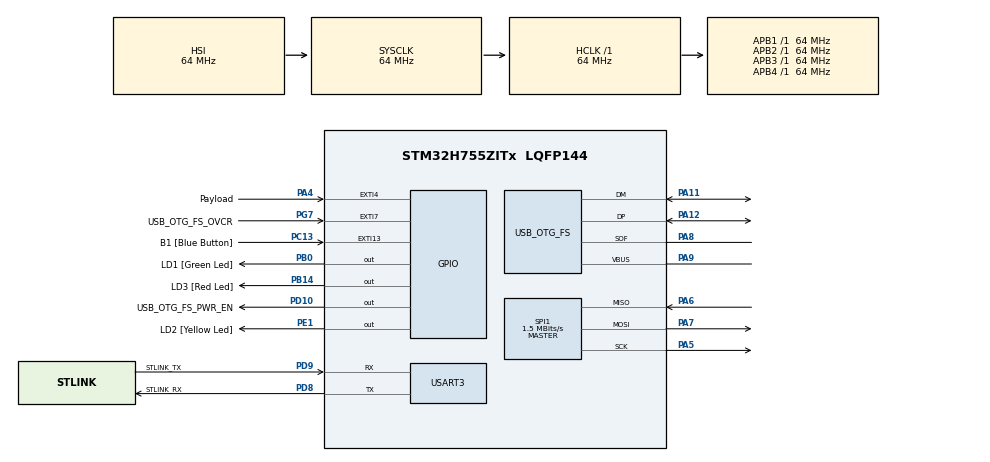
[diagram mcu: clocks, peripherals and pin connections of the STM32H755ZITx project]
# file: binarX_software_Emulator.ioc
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CortexM4.IPs=FATFS_M4\:I,FREERTOS_M4\:I,IWDG2\:I,RCC,WWDG2\:I,DMA,BDMA,MDMA,NVIC2\:I,USART3,DEBUG,USB_DEVICE_M4\:I,USB_HOST_M4\:I,PDM2PCM_M4\:I,PWR,RESMGR_UTILITY,SYS_M4\:I,CORTEX_M4\:I,OPENAMP_M4\:I,VREFBUF,GPIO
CortexM7.IPs=FATFS_M7\:I,FREERTOS_M7\:I,IWDG1\:I,RCC\:I,WWDG1\:I,DMA\:I,BDMA\:I,MDMA\:I,NVIC1\:I,USART3\:I,USB_OTG_FS\:I,SYS\:I,CORTEX_M7\:I,DEBUG\:I,USB_DEVICE_M7\:I,USB_HOST_M7\:I,PDM2PCM_M7\:I,PWR\:I,RESMGR_UTILITY\:I,OPENAMP_M7\:I,VREFBUF\:I,GPIO\:I,SPI1\:I
CortexM7.Pins=PC13,PA4,PB0,PB14,PE1
Mcu.Family=STM32H7
Mcu.Name=STM32H755ZITx
Mcu.Package=LQFP144
NVIC1.EXTI15_10_IRQn=true\:5\:0\:true\:false\:true\:true\:true\:true
NVIC1.EXTI4_IRQn=true\:5\:0\:true\:false\:true\:true\:true\:true
NVIC1.PriorityGroup=NVIC_PRIORITYGROUP_4
NVIC2.PriorityGroup=NVIC_PRIORITYGROUP_4
PA1.PinAttribute=CortexM4
PA1.Signal=ETH_REF_CLK
PA11.Mode=Device_Only
PA11.PinAttribute=CortexM7
PA11.Signal=USB_OTG_FS_DM
PA12.Mode=Device_Only
PA12.PinAttribute=CortexM7
PA12.Signal=USB_OTG_FS_DP
PA2.PinAttribute=CortexM4
PA2.Signal=ETH_MDIO
PA4.GPIO_Label=Payload
PA4.PinAttribute=CortexM7
PA4.Signal=GPXTI4
PA5.Mode=Full_Duplex_Master
PA5.PinAttribute=CortexM7
PA5.Signal=SPI1_SCK
PA6.Mode=Full_Duplex_Master
PA6.PinAttribute=CortexM7
PA6.Signal=SPI1_MISO
PA7.Mode=Full_Duplex_Master
PA7.PinAttribute=CortexM7
PA7.Signal=SPI1_MOSI
PA8.Mode=Activate_SOF_FS
PA8.PinAttribute=CortexM7
PA8.Signal=USB_OTG_FS_SOF
PA9.Mode=Activate_VBUS
PA9.PinAttribute=CortexM7
PA9.Signal=USB_OTG_FS_VBUS
PB0.GPIO_Label=LD1 [Green Led]
PB0.PinAttribute=CortexM7
PB0.Signal=GPIO_Output
PB13.PinAttribute=CortexM4
PB13.Signal=ETH_TXD1
PB14.GPIO_Label=LD3 [Red Led]
PB14.PinAttribute=CortexM7
PB14.Signal=GPIO_Output
PC1.PinAttribute=CortexM4
PC1.Signal=ETH_MDC
PC13.GPIO_Label=B1 [Blue Button]
PC13.PinAttribute=CortexM7
PC13.Signal=GPXTI13
PC14-OSC32_IN\ (OSC32_IN).Mode=LSE-External-Oscillator
PC14-OSC32_IN\ (OSC32_IN).PinAttribute=CortexM7
PC14-OSC32_IN\ (OSC32_IN).Signal=RCC_OSC32_IN
PC15-OSC32_OUT\ (OSC32_OUT).Mode=LSE-External-Oscillator
PC15-OSC32_OUT\ (OSC32_OUT).PinAttribute=CortexM7
PC15-OSC32_OUT\ (OSC32_OUT).Signal=RCC_OSC32_OUT
PD10.GPIO_Label=USB_OTG_FS_PWR_EN
PD10.PinAttribute=Free
PD10.Signal=GPIO_Output
PD8.GPIO_Label=STLINK_RX
PD8.Mode=Asynchronous
PD8.PinAttribute=CortexM7
PD8.Signal=USART3_TX
PD9.GPIO_Label=STLINK_TX
PD9.Mode=Asynchronous
PD9.PinAttribute=CortexM7
PD9.Signal=USART3_RX
PE1.GPIO_Label=LD2 [Yellow Led]
PE1.PinAttribute=CortexM7
PE1.Signal=GPIO_Output
PG11.PinAttribute=CortexM4
PG11.Signal=ETH_TX_EN
PG13.PinAttribute=CortexM4
PG13.Signal=ETH_TXD0
PG7.GPIO_Label=USB_OTG_FS_OVCR
PG7.PinAttribute=Free
PG7.Signal=GPXTI7
PH0-OSC_IN\ (PH0).Mode=HSE-External-Clock-Source
PH0-OSC_IN\ (PH0).PinAttribute=CortexM7
PH0-OSC_IN\ (PH0).Signal=RCC_OSC_IN
PH1-OSC_OUT\ (PH1).PinAttribute=CortexM7
PH1-OSC_OUT\ (PH1).Signal=RCC_OSC_OUT
ProjectManager.HeapSize=M4-0x200,M7-0x200
ProjectManager.StackSize=M4-0x400,M7-0x400
ProjectManager.TargetToolchain=STM32CubeIDE
RCC.ADCFreq_Value=16125000
RCC.APB1Freq_Value=64000000
RCC.APB2Freq_Value=64000000
RCC.APB3Freq_Value=64000000
RCC.APB4Freq_Value=64000000
RCC.CortexFreq_Value=64000000
RCC.DIVM1=1
RCC.DIVN1=24
RCC.DIVQ1=4
RCC.HCLKFreq_Value=64000000
RCC.HSE_VALUE=8000000
RCC.PLL2FRACN=0
RCC.PLL3FRACN=0
RCC.PLLFRACN=0
RCC.PWR_Regulator_Voltage_Scale=PWR_REGULATOR_VOLTAGE_SCALE2
RCC.SYSCLKFreq_VALUE=64000000
RCC.SupplySource=PWR_DIRECT_SMPS_SUPPLY
RCC.USBFreq_Value=48000000
SPI1.BaudRatePrescaler=SPI_BAUDRATEPRESCALER_32
SPI1.CalculateBaudRate=1.5 MBits/s
SPI1.DataSize=SPI_DATASIZE_8BIT
SPI1.Direction=SPI_DIRECTION_2LINES
SPI1.Mode=SPI_MODE_MASTER
SPI1.VirtualType=VM_MASTER
USART3.VirtualMode-Asynchronous=VM_ASYNC
USB_OTG_FS.VirtualMode=Device_Only
VP_SYS_M4_VS_Systick.Mode=SysTick
board=NUCLEO-H755ZI-Q

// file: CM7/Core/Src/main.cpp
/* USER CODE BEGIN Header */
/**
 ******************************************************************************
 * @file           : main.c
 * @brief          : Main program body
 ******************************************************************************
 * @attention
 *
 * Copyright (c) 2023 STMicroelectronics.
 * All rights reserved.
 *
 * This software is licensed under terms that can be found in the LICENSE file
 * in the root directory of this software component.
 * If no LICENSE file comes with this software, it is provided AS-IS.
 *
 ******************************************************************************
 */
/* USER CODE END Header */
#include "main.h"

/* USER CODE BEGIN Includes */
#include "emulator/public/emulator.h"
#include "abstraction_layer/inc/gpio_impl.h"
#include "abstraction_layer/inc/serial_impl.h"
#include "string.h"
#include "abstraction_layer/inc/time_impl.h"
/* USER CODE END Includes */

/* USER CODE BEGIN PD */

#ifndef HSEM_ID_0
#define HSEM_ID_0 (0U) /* HW semaphore 0*/
#endif

/* USER CODE END PD */

SPI_HandleTypeDef hspi1;

UART_HandleTypeDef huart3;

PCD_HandleTypeDef hpcd_USB_OTG_FS;

void SystemClock_Config(void);
static void MX_GPIO_Init(void);
static void MX_USART3_UART_Init(void);
static void MX_USB_OTG_FS_PCD_Init(void);
static void MX_SPI1_Init(void);

/* USER CODE BEGIN 0 */
binarx_gpio_impl::GpioImpl gpio_controller = binarx_gpio_impl::GpioImpl();
binarx_serial_impl::SpiImpl spi_controller = binarx_serial_impl::SpiImpl();
binarx_serial_impl::UartImpl uart_controller = binarx_serial_impl::UartImpl();
binarx_time_impl::TimeImpl time_controller = binarx_time_impl::TimeImpl();
binarx_emulator::BinarXEmulator emulator = binarx_emulator::BinarXEmulator(spi_controller, uart_controller, gpio_controller, time_controller);

extern "C" void HAL_GPIO_EXTI_Callback(uint16_t GPIO_Pin) {
  switch (GPIO_Pin) {
    case B1_Pin:
      emulator.ButtonPressCallback();
      break;
    case Payload_Pin:
      emulator.PayloadReadyInterruptCallback();
      break;
    default:
      break;
  }
}

/* USER CODE END 0 */

int main(void) {
  /* USER CODE BEGIN Boot_Mode_Sequence_0 */
//  int32_t timeout;
  /* USER CODE END Boot_Mode_Sequence_0 */

  /* USER CODE BEGIN Boot_Mode_Sequence_1 */
  /* Wait until CPU2 boots and enters in stop mode or timeout*/
  //  timeout = 0xFFFF;
  //  while((__HAL_RCC_GET_FLAG(RCC_FLAG_D2CKRDY) != RESET) && (timeout-- > 0));
  //  if ( timeout < 0 )
  //  {
  //  Error_Handler();
  //  }
  ///* USER CODE END Boot_Mode_Sequence_1 */
  /* MCU Configuration--------------------------------------------------------*/

  /* Reset of all peripherals, Initializes the Flash interface and the Systick.
   */
  HAL_Init();

  /* Configure the system clock */
  SystemClock_Config();
  /* USER CODE BEGIN Boot_Mode_Sequence_2 */
  /* When system initialization is finished, Cortex-M7 will release Cortex-M4 by
  means of HSEM notification */
  /*HW semaphore Clock enable*/
  __HAL_RCC_HSEM_CLK_ENABLE();
  /*Take HSEM */
  HAL_HSEM_FastTake(HSEM_ID_0);
  /*Release HSEM in order to notify the CPU2(CM4)*/
  HAL_HSEM_Release(HSEM_ID_0, 0);
  /* wait until CPU2 wakes up from stop mode */
  // timeout = 0xFFFF;
  // while((__HAL_RCC_GET_FLAG(RCC_FLAG_D2CKRDY) == RESET) && (timeout-- > 0));
  // if ( timeout < 0 )
  //{
  // Error_Handler();
  // }
  /* USER CODE END Boot_Mode_Sequence_2 */

  /* Initialize all configured peripherals */
  MX_GPIO_Init();
  MX_USART3_UART_Init();
  MX_USB_OTG_FS_PCD_Init();
  MX_SPI1_Init();
  /* USER CODE BEGIN 2 */
  emulator.Init();
  /* USER CODE END 2 */

  /* Infinite loop */
  /* USER CODE BEGIN WHILE */
  while (1) {
    emulator.Run();
    /* USER CODE END WHILE */

  }
}

void SystemClock_Config(void) {
  RCC_OscInitTypeDef RCC_OscInitStruct = {0};
  RCC_ClkInitTypeDef RCC_ClkInitStruct = {0};

  /** Supply configuration update enable
   */
  HAL_PWREx_ConfigSupply(PWR_DIRECT_SMPS_SUPPLY);

  /** Configure the main internal regulator output voltage
   */
  __HAL_PWR_VOLTAGESCALING_CONFIG(PWR_REGULATOR_VOLTAGE_SCALE2);

  while (!__HAL_PWR_GET_FLAG(PWR_FLAG_VOSRDY)) {
  }

  /** Initializes the RCC Oscillators according to the specified parameters
   * in the RCC_OscInitTypeDef structure.
   */
  RCC_OscInitStruct.OscillatorType =
      RCC_OSCILLATORTYPE_HSI | RCC_OSCILLATORTYPE_HSE;
  RCC_OscInitStruct.HSEState = RCC_HSE_BYPASS;
  RCC_OscInitStruct.HSIState = RCC_HSI_DIV1;
  RCC_OscInitStruct.HSICalibrationValue = RCC_HSICALIBRATION_DEFAULT;
  RCC_OscInitStruct.PLL.PLLState = RCC_PLL_ON;
  RCC_OscInitStruct.PLL.PLLSource = RCC_PLLSOURCE_HSE;
  RCC_OscInitStruct.PLL.PLLM = 1;
  RCC_OscInitStruct.PLL.PLLN = 24;
  RCC_OscInitStruct.PLL.PLLP = 2;
  RCC_OscInitStruct.PLL.PLLQ = 4;
  RCC_OscInitStruct.PLL.PLLR = 2;
  RCC_OscInitStruct.PLL.PLLRGE = RCC_PLL1VCIRANGE_3;
  RCC_OscInitStruct.PLL.PLLVCOSEL = RCC_PLL1VCOWIDE;
  RCC_OscInitStruct.PLL.PLLFRACN = 0;
  if (HAL_RCC_OscConfig(&RCC_OscInitStruct) != HAL_OK) {
    Error_Handler();
  }

  /** Initializes the CPU, AHB and APB buses clocks
   */
  RCC_ClkInitStruct.ClockType = RCC_CLOCKTYPE_HCLK | RCC_CLOCKTYPE_SYSCLK |
                                RCC_CLOCKTYPE_PCLK1 | RCC_CLOCKTYPE_PCLK2 |
                                RCC_CLOCKTYPE_D3PCLK1 | RCC_CLOCKTYPE_D1PCLK1;
  RCC_ClkInitStruct.SYSCLKSource = RCC_SYSCLKSOURCE_HSI;
  RCC_ClkInitStruct.SYSCLKDivider = RCC_SYSCLK_DIV1;
  RCC_ClkInitStruct.AHBCLKDivider = RCC_HCLK_DIV1;
  RCC_ClkInitStruct.APB3CLKDivider = RCC_APB3_DIV1;
  RCC_ClkInitStruct.APB1CLKDivider = RCC_APB1_DIV1;
  RCC_ClkInitStruct.APB2CLKDivider = RCC_APB2_DIV1;
  RCC_ClkInitStruct.APB4CLKDivider = RCC_APB4_DIV1;

  if (HAL_RCC_ClockConfig(&RCC_ClkInitStruct, FLASH_LATENCY_1) != HAL_OK) {
    Error_Handler();
  }
}

static void MX_SPI1_Init(void) {

  /* SPI1 parameter configuration*/
  hspi1.Instance = SPI1;
  hspi1.Init.Mode = SPI_MODE_MASTER;
  hspi1.Init.Direction = SPI_DIRECTION_2LINES;
  hspi1.Init.DataSize = SPI_DATASIZE_8BIT;
  hspi1.Init.CLKPolarity = SPI_POLARITY_LOW;
  hspi1.Init.CLKPhase = SPI_PHASE_1EDGE;
  hspi1.Init.NSS = SPI_NSS_SOFT;
  hspi1.Init.BaudRatePrescaler = SPI_BAUDRATEPRESCALER_256;
  hspi1.Init.FirstBit = SPI_FIRSTBIT_MSB;
  hspi1.Init.TIMode = SPI_TIMODE_DISABLE;
  hspi1.Init.CRCCalculation = SPI_CRCCALCULATION_DISABLE;
  hspi1.Init.CRCPolynomial = 0x0;
  hspi1.Init.NSSPMode = SPI_NSS_PULSE_ENABLE;
  hspi1.Init.NSSPolarity = SPI_NSS_POLARITY_LOW;
  hspi1.Init.FifoThreshold = SPI_FIFO_THRESHOLD_01DATA;
  hspi1.Init.TxCRCInitializationPattern =
      SPI_CRC_INITIALIZATION_ALL_ZERO_PATTERN;
  hspi1.Init.RxCRCInitializationPattern =
      SPI_CRC_INITIALIZATION_ALL_ZERO_PATTERN;
  hspi1.Init.MasterSSIdleness = SPI_MASTER_SS_IDLENESS_00CYCLE;
  hspi1.Init.MasterInterDataIdleness = SPI_MASTER_INTERDATA_IDLENESS_00CYCLE;
  hspi1.Init.MasterReceiverAutoSusp = SPI_MASTER_RX_AUTOSUSP_DISABLE;
  hspi1.Init.MasterKeepIOState = SPI_MASTER_KEEP_IO_STATE_DISABLE;
  hspi1.Init.IOSwap = SPI_IO_SWAP_DISABLE;
  if (HAL_SPI_Init(&hspi1) != HAL_OK) {
    Error_Handler();
  }
}

static void MX_USART3_UART_Init(void) {

  huart3.Instance = USART3;
  huart3.Init.BaudRate = 115200;
  huart3.Init.WordLength = UART_WORDLENGTH_8B;
  huart3.Init.StopBits = UART_STOPBITS_1;
  huart3.Init.Parity = UART_PARITY_NONE;
  huart3.Init.Mode = UART_MODE_TX_RX;
  huart3.Init.HwFlowCtl = UART_HWCONTROL_NONE;
  huart3.Init.OverSampling = UART_OVERSAMPLING_16;
  huart3.Init.OneBitSampling = UART_ONE_BIT_SAMPLE_DISABLE;
  huart3.Init.ClockPrescaler = UART_PRESCALER_DIV1;
  huart3.AdvancedInit.AdvFeatureInit = UART_ADVFEATURE_NO_INIT;
  if (HAL_UART_Init(&huart3) != HAL_OK) {
    Error_Handler();
  }
  if (HAL_UARTEx_SetTxFifoThreshold(&huart3, UART_TXFIFO_THRESHOLD_1_8) !=
      HAL_OK) {
    Error_Handler();
  }
  if (HAL_UARTEx_SetRxFifoThreshold(&huart3, UART_RXFIFO_THRESHOLD_1_8) !=
      HAL_OK) {
    Error_Handler();
  }
  if (HAL_UARTEx_DisableFifoMode(&huart3) != HAL_OK) {
    Error_Handler();
  }
}

static void MX_USB_OTG_FS_PCD_Init(void) {

  hpcd_USB_OTG_FS.Instance = USB_OTG_FS;
  hpcd_USB_OTG_FS.Init.dev_endpoints = 9;
  hpcd_USB_OTG_FS.Init.speed = PCD_SPEED_FULL;
  hpcd_USB_OTG_FS.Init.dma_enable = DISABLE;
  hpcd_USB_OTG_FS.Init.phy_itface = PCD_PHY_EMBEDDED;
  hpcd_USB_OTG_FS.Init.Sof_enable = DISABLE;
  hpcd_USB_OTG_FS.Init.low_power_enable = DISABLE;
  hpcd_USB_OTG_FS.Init.lpm_enable = DISABLE;
  hpcd_USB_OTG_FS.Init.battery_charging_enable = ENABLE;
  hpcd_USB_OTG_FS.Init.vbus_sensing_enable = ENABLE;
  hpcd_USB_OTG_FS.Init.use_dedicated_ep1 = DISABLE;
  if (HAL_PCD_Init(&hpcd_USB_OTG_FS) != HAL_OK) {
    Error_Handler();
  }
}

static void MX_GPIO_Init(void) {
  GPIO_InitTypeDef GPIO_InitStruct = {0};

  /* GPIO Ports Clock Enable */
  __HAL_RCC_GPIOC_CLK_ENABLE();
  __HAL_RCC_GPIOH_CLK_ENABLE();
  __HAL_RCC_GPIOA_CLK_ENABLE();
  __HAL_RCC_GPIOB_CLK_ENABLE();
  __HAL_RCC_GPIOD_CLK_ENABLE();
  __HAL_RCC_GPIOE_CLK_ENABLE();

  /*Configure GPIO pin Output Level */
  HAL_GPIO_WritePin(GPIOB, LD1_Pin | LD3_Pin, GPIO_PIN_RESET);

  /*Configure GPIO pin Output Level */
  HAL_GPIO_WritePin(LD2_GPIO_Port, LD2_Pin, GPIO_PIN_RESET);

  /*Configure GPIO pin : B1_Pin */
  GPIO_InitStruct.Pin = B1_Pin;
  GPIO_InitStruct.Mode = GPIO_MODE_IT_RISING;
  GPIO_InitStruct.Pull = GPIO_NOPULL;
  HAL_GPIO_Init(B1_GPIO_Port, &GPIO_InitStruct);

  /*Configure GPIO pin : Payload_Pin */
  GPIO_InitStruct.Pin = Payload_Pin;
  GPIO_InitStruct.Mode = GPIO_MODE_IT_RISING;
  GPIO_InitStruct.Pull = GPIO_NOPULL;
  HAL_GPIO_Init(Payload_GPIO_Port, &GPIO_InitStruct);

  /*Configure GPIO pins : LD1_Pin LD3_Pin */
  GPIO_InitStruct.Pin = LD1_Pin | LD3_Pin;
  GPIO_InitStruct.Mode = GPIO_MODE_OUTPUT_PP;
  GPIO_InitStruct.Pull = GPIO_NOPULL;
  GPIO_InitStruct.Speed = GPIO_SPEED_FREQ_LOW;
  HAL_GPIO_Init(GPIOB, &GPIO_InitStruct);

  /*Configure GPIO pin : LD2_Pin */
  GPIO_InitStruct.Pin = LD2_Pin;
  GPIO_InitStruct.Mode = GPIO_MODE_OUTPUT_PP;
  GPIO_InitStruct.Pull = GPIO_NOPULL;
  GPIO_InitStruct.Speed = GPIO_SPEED_FREQ_LOW;
  HAL_GPIO_Init(LD2_GPIO_Port, &GPIO_InitStruct);

  /* EXTI interrupt init*/
  HAL_NVIC_SetPriority(EXTI4_IRQn, 5, 0);
  HAL_NVIC_EnableIRQ(EXTI4_IRQn);

  HAL_NVIC_SetPriority(EXTI15_10_IRQn, 5, 0);
  HAL_NVIC_EnableIRQ(EXTI15_10_IRQn);

}

void Error_Handler(void) {
  __disable_irq();
  while (1) {
  }
}

#ifdef USE_FULL_ASSERT
/**
 * @brief  Reports the name of the source file and the source line number
 *         where the assert_param error has occurred.
 * @param  file: pointer to the source file name
 * @param  line: assert_param error line source number
 * @retval None
 */
void assert_failed(uint8_t *file, uint32_t line) {
  /* USER CODE BEGIN 6 */
  /* User can add his own implementation to report the file name and line
     number, ex: printf("Wrong parameters value: file %s on line %d\r\n", file,
     line) */
  /* USER CODE END 6 */
}
#endif /* USE_FULL_ASSERT */
